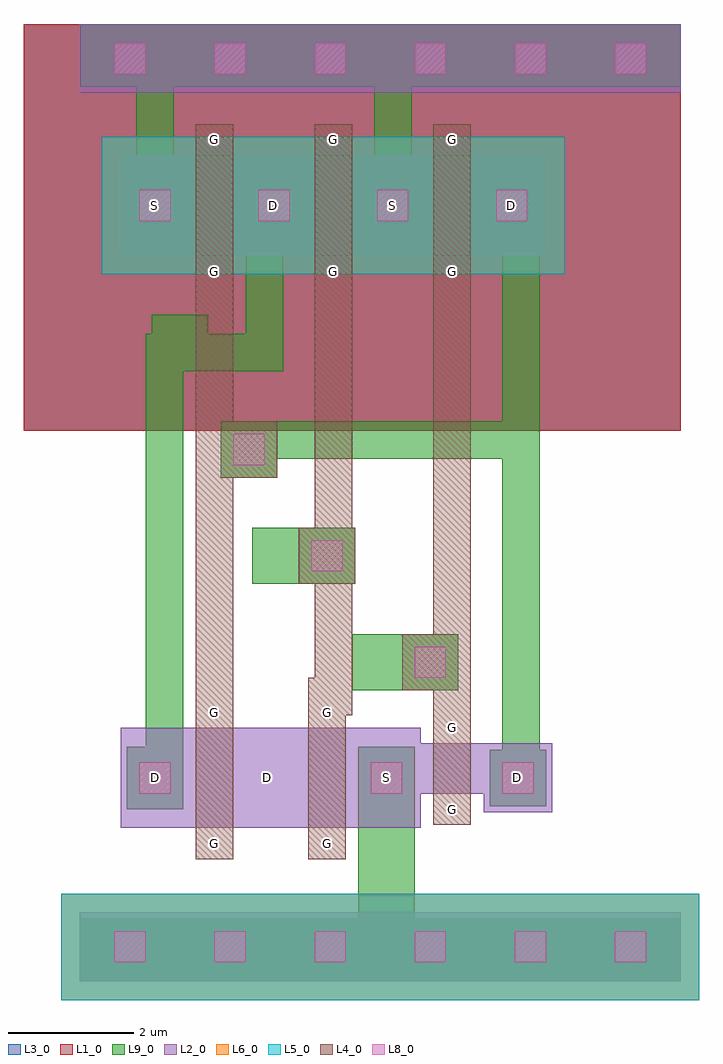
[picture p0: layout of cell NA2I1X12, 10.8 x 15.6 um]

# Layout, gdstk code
import gdstk
lib = gdstk.Library(unit=1e-6, precision=1e-09)
def R(c, l, rs):  # rectangles x0, y0, x1, y1
    for r in rs: c.add(gdstk.rectangle(r[:2], r[2:], *l))
def A(c, l, x, y, w, h, nx, ny, dx, dy):  # array of equal rectangles
    R(c, l, [(x+i*dx, y+j*dy, x+i*dx+w, y+j*dy+h) for i in range(nx) for j in range(ny)])
def P(c, l, *ps):  # polygons
    for p in ps: c.add(gdstk.Polygon(p, *l))
L1_0 = (1, 0)
L2_0 = (2, 0)
L3_0 = (3, 0)
L4_0 = (4, 0)
L5_0 = (5, 0)
L6_0 = (6, 0)
L8_0 = (8, 0)
L9_0 = (9, 0)

na2i1x12 = lib.new_cell('NA2I1X12')
A(na2i1x12, L1_0, -0.85, 10.1, 6, 4.6, 3, 1, 1.9, 0)
R(na2i1x12, L1_0, [(-0.9,8.8,7.1,15.3), (6.4,8.8,8,15.3), (8,8.8,9.6,15.3)])
A(na2i1x12, L2_0, 1.75, 11.6, 0.8, 1.6, 3, 1, 1.9, 0)
R(na2i1x12, L2_0, [(0,0,8,1.1), (6.4,0,8,1.1), (8,0,9.6,1.1), (0.65,2.45,1.75,4.05), (1.75,2.45,2.55,4.05), (2.45,2.45,3.55,4.05), (2.55,2.45,3.65,4.05), (3.55,2.45,4.35,4.05), (4.35,2.45,5.45,4.05), (4.35,2.7,5.45,3.8), (6.45,2.7,7.55,3.8), (5.45,3,6.45,3.8), (0.65,11.6,1.75,13.2), (2.55,11.6,3.65,13.2), (2.55,11.6,3.65,13.2), (4.45,11.6,5.55,13.2), (4.45,11.6,5.55,13.2), (6.35,11.6,7.45,13.2), (0,14.2,8,15.3), (6.4,14.2,8,15.3), (8,14.2,9.6,15.3)])
A(na2i1x12, L3_0, -0.85, 10.1, 6, 4.6, 3, 1, 1.9, 0)
R(na2i1x12, L3_0, [(-0.9,8.8,7.1,15.3), (6.4,8.8,8,15.3), (8,8.8,9.6,15.3)])
A(na2i1x12, L4_0, 1.85, 11.1, 0.6, 2.6, 3, 1, 1.9, 0)
A(na2i1x12, L4_0, 1.85, 11.1, 0.6, 0.5, 3, 2, 1.9, 2.1)
R(na2i1x12, L4_0, [(1.85,1.95,2.45,4.55), (1.85,1.95,2.45,2.45), (1.85,1.95,2.45,13.7), (3.65,1.95,4.25,4.55), (3.65,1.95,4.25,2.45), (5.65,2.5,6.25,3), (5.65,2.5,6.25,4.3), (5.65,2.55,6.25,13.7), (5.65,3.8,6.25,4.3), (1.85,4.05,2.45,4.55), (3.65,4.05,4.25,4.55), (5.15,4.65,6.05,5.55), (3.5,6.35,4.4,7.25), (2.25,8.05,3.15,8.95)])
P(na2i1x12, L4_0, [(3.65,1.95),(4.25,1.95),(4.25,4.25),(4.35,4.25),(4.35,13.7),(3.75,13.7),(3.75,4.85),(3.65,4.85)])
A(na2i1x12, L5_0, 0.35, 11.3, 3.6, 2.2, 3, 1, 1.9, 0)
R(na2i1x12, L5_0, [(-0.3,-0.3,8.3,1.4), (6.4,-0.3,8,1.4), (8,-0.3,9.9,1.4)])
A(na2i1x12, L6_0, 0.35, 11.3, 3.6, 2.2, 3, 1, 1.9, 0)
R(na2i1x12, L6_0, [(-0.3,-0.3,8.3,1.4), (6.4,-0.3,8,1.4), (8,-0.3,9.9,1.4)])
A(na2i1x12, L8_0, 0.55, 0.3, 0.5, 0.5, 5, 2, 1.6, 14.2)
R(na2i1x12, L8_0, [(6.95,0.3,7.45,0.8), (6.95,0.3,7.45,0.8), (8.55,0.3,9.05,0.8), (0.95,3,1.45,3.5), (4.65,3,5.15,3.5), (4.65,3,5.15,3.5), (6.75,3,7.25,3.5), (5.35,4.85,5.85,5.35), (3.7,6.55,4.2,7.05), (2.45,8.25,2.95,8.75), (0.95,12.15,1.45,12.65), (2.85,12.15,3.35,12.65), (2.85,12.15,3.35,12.65), (4.75,12.15,5.25,12.65), (4.75,12.15,5.25,12.65), (6.65,12.15,7.15,12.65), (6.95,14.5,7.45,15), (6.95,14.5,7.45,15), (8.55,14.5,9.05,15)])
R(na2i1x12, L9_0, [(0,0,8,1), (6.4,0,8,1), (8,0,9.6,1), (6.7,0.1,7.6,1), (4.45,0.15,5.35,3.7), (0.75,2.75,1.65,3.75), (0.9,2.75,0.95,3.05), (4.45,2.75,5.35,3.75), (4.45,2.8,5.35,3.7), (6.55,2.8,7.45,3.7), (6.75,2.8,7.35,12.9), (4.35,4.65,5.25,5.55), (5.15,4.65,6.05,5.55), (4.5,4.8,5.1,5.4), (2.75,6.35,3.65,7.25), (3.5,6.35,4.4,7.25), (2.9,6.5,3.5,7.1), (2.25,8.05,3.15,8.95), (2.25,8.35,7.35,8.95), (1.15,9.75,2.05,10.65), (1.3,9.9,1.9,10.5), (0.75,11.9,1.65,12.9), (2.65,11.9,3.55,12.9), (2.65,11.9,3.55,12.9), (4.55,11.9,5.45,12.9), (4.55,11.9,5.45,12.9), (6.45,11.9,7.35,12.9), (0.9,12.1,1.5,15), (4.7,12.1,5.3,14.95), (0,14.3,8,15.3), (6.4,14.3,8,15.3), (6.75,14.3,7.65,15.2), (8,14.3,9.6,15.3), (0.9,14.55,5.55,15.15)])
P(na2i1x12, L9_0, [(1.05,2.75),(1.65,2.75),(1.65,9.75),(3.25,9.75),(3.25,12.9),(2.65,12.9),(2.65,10.35),(1.05,10.35)])
na2i1x12.add(gdstk.Label('G', (5.95,11.352), layer=4, texttype=0))
na2i1x12.add(gdstk.Label('G', (5.95,13.452), layer=4, texttype=0))
na2i1x12.add(gdstk.Label('S', (4.999,12.401), layer=9, texttype=0))
na2i1x12.add(gdstk.Label('D', (6.899,12.401), layer=9, texttype=0))
na2i1x12.add(gdstk.Label('G', (5.95,4.048), layer=4, texttype=0))
na2i1x12.add(gdstk.Label('G', (5.95,2.748), layer=4, texttype=0))
na2i1x12.add(gdstk.Label('S', (4.899,3.249), layer=9, texttype=0))
na2i1x12.add(gdstk.Label('D', (6.999,3.249), layer=9, texttype=0))
na2i1x12.add(gdstk.Label('D', (3.001,3.251), layer=2, texttype=0))
na2i1x12.add(gdstk.Label('G', (3.95,2.202), layer=4, texttype=0))
na2i1x12.add(gdstk.Label('G', (3.95,4.302), layer=4, texttype=0))
na2i1x12.add(gdstk.Label('S', (4.901,3.251), layer=9, texttype=0))
na2i1x12.add(gdstk.Label('G', (2.15,2.202), layer=4, texttype=0))
na2i1x12.add(gdstk.Label('G', (2.15,4.302), layer=4, texttype=0))
na2i1x12.add(gdstk.Label('S', (3.101,3.251), layer=2, texttype=0))
na2i1x12.add(gdstk.Label('D', (1.201,3.251), layer=9, texttype=0))
na2i1x12.add(gdstk.Label('G', (4.05,11.352), layer=4, texttype=0))
na2i1x12.add(gdstk.Label('G', (4.05,13.452), layer=4, texttype=0))
na2i1x12.add(gdstk.Label('S', (5.001,12.401), layer=9, texttype=0))
na2i1x12.add(gdstk.Label('D', (3.101,12.401), layer=9, texttype=0))
na2i1x12.add(gdstk.Label('G', (2.15,11.352), layer=4, texttype=0))
na2i1x12.add(gdstk.Label('G', (2.15,13.452), layer=4, texttype=0))
na2i1x12.add(gdstk.Label('S', (1.199,12.401), layer=9, texttype=0))
na2i1x12.add(gdstk.Label('D', (3.099,12.401), layer=9, texttype=0))

lib.write_gds('NA2I1X12.gds')
